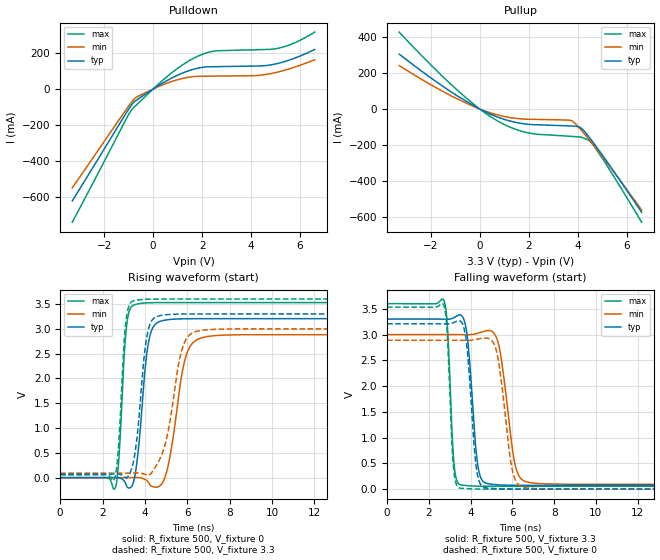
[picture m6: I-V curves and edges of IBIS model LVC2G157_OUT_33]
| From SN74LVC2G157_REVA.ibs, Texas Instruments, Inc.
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[Model]   LVC2G157_OUT_33
Model_type  Output
Vref =   0
Rref =   500
Cref =   50p
Vmeas =   1.5
| variable   typ   min   max
C_comp   9.43pF   5.87pF   12.80pF
| C_pullup   9.59pF   5.87pF   11.73pF
| C_pulldown   9.26pF   6.39pF   12.80pF
[Temperature Range]   40   100   -40
| Ambient temperature   25   85   -40
[Voltage range]   3.3   3   3.6
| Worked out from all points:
|   slope of the pulldown table from 0 to 0.495 V, typ, clamps not added: 11.9 ohm
|   slope of the pullup table from 0 to 0.495 V, typ, clamps not added: 15.5 ohm
|   rising waveform, R_fixture 500, V_fixture 0: 20-80 % time 403ps typ, 604ps min, 265ps max; typ from 0 V to 3.21 V
|   falling waveform, R_fixture 500, V_fixture 3.3: 20-80 % time 353ps typ, 532ps min, 232ps max; typ from 3.3 V to 0.073 V
|   rising waveform, R_fixture 500, V_fixture 3.3: 20-80 % time 423ps typ, 698ps min, 270ps max; typ from 0.073 V to 3.3 V
|   falling waveform, R_fixture 500, V_fixture 0: 20-80 % time 341ps typ, 508ps min, 223ps max; typ from 3.21 V to 0 V
[Pulldown]
| LVC2G157_OUT_33
|   Voltage   I(typ)   I(min)   I(max)
-3.3V     -624.5mA   -551.6mA   -743.5mA
-910mV    -94.39mA   -78.81mA   -121.9mA
-785mV    -73.05mA   -57.97mA   -102.4mA
-625mV    -56.69mA   -41.11mA   -81.37mA
775mV     62.29mA    42.84mA    92.23mA
1.545V    106.3mA    68.02mA    163.8mA
2.23V     124.1mA    71.96mA    204.2mA
2.635V    125.2mA    72.54mA    213.9mA
4.185V    128.6mA    75.28mA    219.5mA
5.06V     142.2mA    93.97mA    226.8mA
5.775V    172.4mA    122.4mA    258.2mA
6.6V      221.3mA    163.7mA    318.2mA
[Pullup]
| LVC2G157_OUT_33
|   Voltage   I(typ)   I(min)   I(max)
-3.3V     305.1mA    241.7mA    427.2mA
-1.05V    84.45mA    65.23mA    120.7mA
-50mV     3.654mA    2.736mA    5.316mA
595mV     -37.54mA   -27.41mA   -55.66mA
1.255V    -66.83mA   -47.19mA   -101.2mA
1.92V     -83.22mA   -55.82mA   -130mA
3.76V     -93.58mA   -66.15mA   -151.3mA
4.12V     -104.2mA   -113.9mA   -155.3mA
4.445V    -153.3mA   -167.1mA   -173.4mA
4.565V    -174.5mA   -187.6mA   -188.3mA
5.3V      -313mA     -318.2mA   -337.6mA
6.6V      -571.9mA   -558.9mA   -626.7mA
[Ramp]
| LVC2G157_OUT_33
| variable   typ   min   max
dV/dt_r   2.05/4.36E-10   1.85/6.51E-10   2.26/2.89E-10
dV/dt_f   1.99/3.72E-10   1.79/5.53E-10   2.18/2.47E-10
R_load = 500
[Rising Waveform]
| LVC2G157_OUT_33
R_fixture =   500
C_fixture =   0
L_fixture =   0
V_fixture =   0
V_fixture_min = 0
V_fixture_max = 0
|   Time   V(typ)   V(min)   V(max)
0s        146.9pV    5.297nV    581.1pV
2.6ns     2.207mV    -60.71uV   -207.1mV
2.77ns    816.4uV    -36.41uV   376.4mV
3.13ns    -156.1mV   411.9uV    3.033V
3.55ns    90.27mV    3.551mV    3.492V
4.16ns    2.699V     -87.45mV   3.525V
4.775ns   3.158V     -137.6mV   3.529V
5.9ns     3.202V     2.391V     3.529V
6.665ns   3.204V     2.818V     3.529V
27ns      3.205V     2.883V     3.529V
[Falling Waveform]
| LVC2G157_OUT_33
R_fixture =   500
C_fixture =   0
L_fixture =   0
V_fixture =   3.3
V_fixture_min = 3
V_fixture_max = 3.6
|   Time   V(typ)   V(min)   V(max)
0s        3.3V       3V         3.6V
2.73ns    3.298V     3V         3.657V
3.2ns     3.328V     3V         530.1mV
3.475ns   3.383V     2.999V     88.61mV
3.84ns    2.977V     2.997V     68.58mV
4.355ns   439.9mV    3.027V     58.31mV
4.755ns   114.6mV    3.072V     56.2mV
5.325ns   84.07mV    2.838V     55.29mV
6.655ns   73.43mV    144.6mV    55mV
27ns      72.55mV    92mV       54.93mV
[Rising Waveform]
| LVC2G157_OUT_33
R_fixture =   500
C_fixture =   0
L_fixture =   0
V_fixture =   3.3
V_fixture_min = 3
V_fixture_max = 3.6
|   Time   V(typ)   V(min)   V(max)
0s        72.51mV    91.94mV    54.9mV
2.55ns    74.03mV    91.88mV    -33.66mV
2.745ns   75.13mV    91.91mV    565.1mV
3.085ns   1.618mV    92.24mV    3.071V
3.46ns    324.2mV    94.42mV    3.564V
4.085ns   2.824V     57.62mV    3.596V
4.62ns    3.256V     302.2mV    3.599V
5.75ns    3.298V     2.582V     3.6V
6.42ns    3.3V       2.948V     3.6V
27ns      3.3V       3V         3.6V
[Falling Waveform]
| LVC2G157_OUT_33
R_fixture =   500
C_fixture =   0
L_fixture =   0
V_fixture =   0
V_fixture_min = 0
V_fixture_max = 0
|   Time   V(typ)   V(min)   V(max)
0s        3.209V     2.89V      3.532V
2.715ns   3.208V     2.89V      3.573V
3.17ns    3.229V     2.89V      480.1mV
3.46ns    3.269V     2.889V     22.34mV
3.815ns   2.809V     2.887V     10.71mV
4.29ns    374mV      2.907V     2.968mV
4.67ns    33.3mV     2.93V      1.178mV
5.235ns   8.643mV    2.69V      360.7uV
6.48ns    713.5uV    41.76mV    92.29uV
27ns      35.38uV    50.86uV    25.66uV
